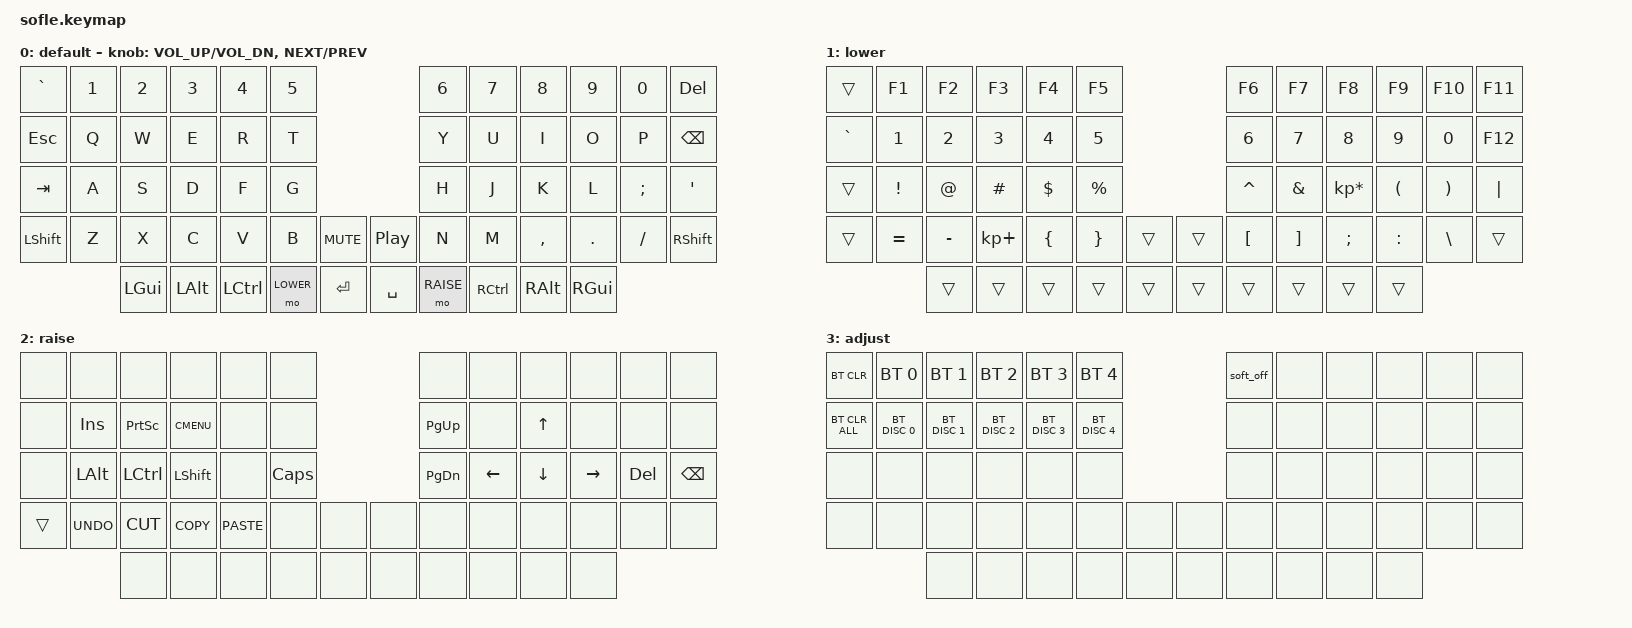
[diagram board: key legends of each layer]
/*
 * Copyright (c) 2020 The ZMK Contributors
 *
 * SPDX-License-Identifier: MIT
 */

#include <behaviors.dtsi>
#include <dt-bindings/zmk/bt.h>
#include <dt-bindings/zmk/keys.h>

#define BASE 0
#define LOWER 1
#define RAISE 2
#define ADJUST 3

/ {
    // Activate ADJUST layer by pressing raise and lower

    conditional_layers {
        compatible = "zmk,conditional-layers";

        adjust_layer {
            if-layers = <LOWER RAISE>;
            then-layer = <ADJUST>;
        };
    };

    keymap {
        compatible = "zmk,keymap";

        default_layer {
            label = "default";

            // ------------------------------------------------------------------------------------------------------------
            // |   `   |  1  |  2  |  3   |  4   |  5   |                   |  6   |  7    |  8    |  9   |   0   |       |
            // |  ESC  |  Q  |  W  |  E   |  R   |  T   |                   |  Y   |  U    |  I    |  O   |   P   | BKSPC |
            // |  TAB  |  A  |  S  |  D   |  F   |  G   |                   |  H   |  J    |  K    |  L   |   ;   |   '   |
            // | SHIFT |  Z  |  X  |  C   |  V   |  B   |  MUTE  |  |       |  N   |  M    |  ,    |  .   |   /   | SHIFT |
            //               | GUI | ALT  | CTRL | LOWER|  ENTER |  | SPACE | RAISE| CTRL  | ALT   | GUI  |

            bindings = <
&kp GRAVE       &kp N1  &kp N2    &kp N3        &kp N4     &kp N5                                     &kp N6     &kp N7     &kp N8         &kp N9    &kp N0    &kp DELETE
&kp ESCAPE      &kp Q   &kp W     &kp E         &kp R      &kp T                                      &kp Y      &kp U      &kp I          &kp O     &kp P     &kp BSPC
&kp TAB         &kp A   &kp S     &kp D         &kp F      &kp G                                      &kp H      &kp J      &kp K          &kp L     &kp SEMI  &kp SQT
&kp LEFT_SHIFT  &kp Z   &kp X     &kp C         &kp V      &kp B      &kp C_MUTE    &kp C_PLAY_PAUSE  &kp N      &kp M      &kp COMMA      &kp DOT   &kp FSLH  &kp RIGHT_SHIFT
                        &kp LGUI  &kp LEFT_ALT  &kp LCTRL  &mo LOWER  &kp RET       &kp SPACE         &mo RAISE  &kp RCTRL  &kp RIGHT_ALT  &kp RGUI
            >;

            sensor-bindings =
                <&inc_dec_kp C_VOL_UP C_VOL_DN>,
                <&inc_dec_kp C_NEXT C_PREV>;
        };

        lower_layer {
            label = "lower";

            // TODO: Some binds are waiting for shifted keycode support.
            // ------------------------------------------------------------------------------------------------------------
            // |       |  F1 |  F2 |  F3  |  F4  |  F5  |                   |  F6  |  F7   |  F8   |  F9  |  F10  |  F11  |
            // |   `   |  1  |  2  |  3   |  4   |  5   |                   |  6   |  7    |  8    |  9   |   0   |  F12  |
            // |       |  !  |  @  |  #   |  $   |  %   |                   |  ^   |  &    |  *    |  (   |   )   |   |   |
            // |       |  =  |  -  |  +   |  {   |  }   |        |  |       |  [   |  ]    |  ;    |  :   |   \   |       |
            //               |     |      |      |      |        |  |       |      |       |       |      |

            bindings = <
&trans     &kp F1     &kp F2     &kp F3       &kp F4    &kp F5                       &kp F6     &kp F7    &kp F8           &kp F9     &kp F10   &kp F11
&kp GRAVE  &kp N1     &kp N2     &kp N3       &kp N4    &kp N5                       &kp N6     &kp N7    &kp N8           &kp N9     &kp N0    &kp F12
&trans     &kp EXCL   &kp AT     &kp HASH     &kp DLLR  &kp PRCNT                    &kp CARET  &kp AMPS  &kp KP_MULTIPLY  &kp LPAR   &kp RPAR  &kp PIPE
&trans     &kp EQUAL  &kp MINUS  &kp KP_PLUS  &kp LBRC  &kp RBRC   &trans    &trans  &kp LBKT   &kp RBKT  &kp SEMI         &kp COLON  &kp BSLH  &trans
                      &trans     &trans       &trans    &trans     &trans    &trans  &trans     &trans    &trans           &trans
            >;
        };

        raise_layer {
            label = "raise";

            // ------------------------------------------------------------------------------------------------------------
            // | BTCLR | BT1  | BT2  |  BT3  |  BT4  |  BT5 |                |      |      |       |      |       |       |
            // |       | INS  | PSCR | GUI   |       |      |                | PGUP |      |   ^   |      |       |       |
            // |       | ALT  | CTRL | SHIFT |       | CAPS |                | PGDN |   <- |   v   |  ->  |  DEL  | BKSPC |
            // |       | UNDO | CUT  | COPY  | PASTE |      |      |  |      |      |      |       |      |       |       |
            //                |      |       |       |      |      |  |      |      |      |       |      |

            bindings = <
&none   &none       &none      &none        &none        &none                     &none      &none     &none     &none      &none    &none
&none   &kp INS     &kp PSCRN  &kp K_CMENU  &none        &none                     &kp PG_UP  &none     &kp UP    &none      &none    &none
&none   &kp LALT    &kp LCTRL  &kp LSHFT    &none        &kp CLCK                  &kp PG_DN  &kp LEFT  &kp DOWN  &kp RIGHT  &kp DEL  &kp BSPC
&trans  &kp K_UNDO  &kp K_CUT  &kp K_COPY   &kp K_PASTE  &none     &none    &none  &none      &none     &none     &none      &none    &none
                    &none      &none        &none        &none     &none    &none  &none      &none     &none     &none
            >;
        };

        adjust_layer {
            // ----------------------------------------------------------------------------------------------------------------------------
            // | BTCLR  |  BT1    |  BT2    |   BT3   |   BT4   |   BT5   |                  |      |      |       |      |       |       |
            // | EXTPWR | RGB_HUD | RGB_HUI | RGB_SAD | RGB_SAI | RGB_EFF |                  |      |      |       |      |       |       |
            // |        | RGB_BRD | RGB_BRI |         |         |         |                  |      |      |       |      |       |       |
            // |        |         |         |         |         |         | RGB_TOG | |      |      |      |       |      |       |       |
            //                    |         |         |         |         |         | |      |      |      |       |      |

            label = "adjust";
            bindings = <
&bt BT_CLR      &bt BT_SEL 0   &bt BT_SEL 1   &bt BT_SEL 2   &bt BT_SEL 3   &bt BT_SEL 4                   &soft_off  &none  &none  &none  &none  &none
&bt BT_CLR_ALL  &bt BT_DISC 0  &bt BT_DISC 1  &bt BT_DISC 2  &bt BT_DISC 3  &bt BT_DISC 4                  &none      &none  &none  &none  &none  &none
&none           &none          &none          &none          &none          &none                          &none      &none  &none  &none  &none  &none
&none           &none          &none          &none          &none          &none          &none    &none  &none      &none  &none  &none  &none  &none
                               &none          &none          &none          &none          &none    &none  &none      &none  &none  &none
            >;
        };
    };
};
